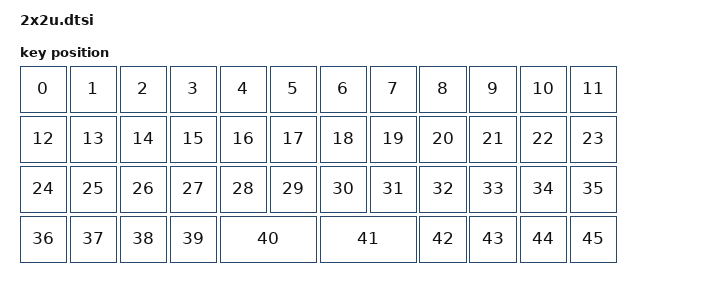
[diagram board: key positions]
#include <physical_layouts.dtsi>

/ {
    layout_ortho_4x12_2x2u: layout_ortho_4x12_2x2u {
        compatible = "zmk,physical-layout";
        display-name = "40% 2x2U Space";

        keys  //                     w   h    x    y     rot    rx    ry
            = <&key_physical_attrs 100 100    0    0       0     0     0>
            , <&key_physical_attrs 100 100  100    0       0     0     0>
            , <&key_physical_attrs 100 100  200    0       0     0     0>
            , <&key_physical_attrs 100 100  300    0       0     0     0>
            , <&key_physical_attrs 100 100  400    0       0     0     0>
            , <&key_physical_attrs 100 100  500    0       0     0     0>
            , <&key_physical_attrs 100 100  600    0       0     0     0>
            , <&key_physical_attrs 100 100  700    0       0     0     0>
            , <&key_physical_attrs 100 100  800    0       0     0     0>
            , <&key_physical_attrs 100 100  900    0       0     0     0>
            , <&key_physical_attrs 100 100 1000    0       0     0     0>
            , <&key_physical_attrs 100 100 1100    0       0     0     0>
            , <&key_physical_attrs 100 100    0  100       0     0     0>
            , <&key_physical_attrs 100 100  100  100       0     0     0>
            , <&key_physical_attrs 100 100  200  100       0     0     0>
            , <&key_physical_attrs 100 100  300  100       0     0     0>
            , <&key_physical_attrs 100 100  400  100       0     0     0>
            , <&key_physical_attrs 100 100  500  100       0     0     0>
            , <&key_physical_attrs 100 100  600  100       0     0     0>
            , <&key_physical_attrs 100 100  700  100       0     0     0>
            , <&key_physical_attrs 100 100  800  100       0     0     0>
            , <&key_physical_attrs 100 100  900  100       0     0     0>
            , <&key_physical_attrs 100 100 1000  100       0     0     0>
            , <&key_physical_attrs 100 100 1100  100       0     0     0>
            , <&key_physical_attrs 100 100    0  200       0     0     0>
            , <&key_physical_attrs 100 100  100  200       0     0     0>
            , <&key_physical_attrs 100 100  200  200       0     0     0>
            , <&key_physical_attrs 100 100  300  200       0     0     0>
            , <&key_physical_attrs 100 100  400  200       0     0     0>
            , <&key_physical_attrs 100 100  500  200       0     0     0>
            , <&key_physical_attrs 100 100  600  200       0     0     0>
            , <&key_physical_attrs 100 100  700  200       0     0     0>
            , <&key_physical_attrs 100 100  800  200       0     0     0>
            , <&key_physical_attrs 100 100  900  200       0     0     0>
            , <&key_physical_attrs 100 100 1000  200       0     0     0>
            , <&key_physical_attrs 100 100 1100  200       0     0     0>
            , <&key_physical_attrs 100 100    0  300       0     0     0>
            , <&key_physical_attrs 100 100  100  300       0     0     0>
            , <&key_physical_attrs 100 100  200  300       0     0     0>
            , <&key_physical_attrs 100 100  300  300       0     0     0>
            , <&key_physical_attrs 200 100  400  300       0     0     0>
            , <&key_physical_attrs 200 100  600  300       0     0     0>
            , <&key_physical_attrs 100 100  800  300       0     0     0>
            , <&key_physical_attrs 100 100  900  300       0     0     0>
            , <&key_physical_attrs 100 100 1000  300       0     0     0>
            , <&key_physical_attrs 100 100 1100  300       0     0     0>
            ;
    };
};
